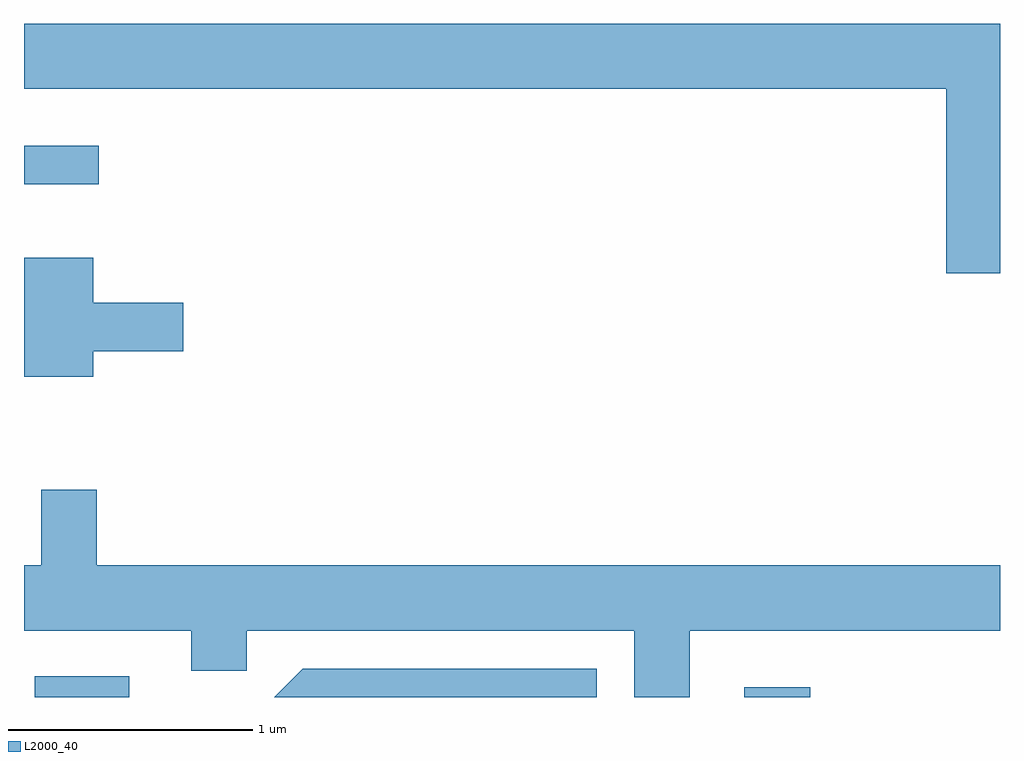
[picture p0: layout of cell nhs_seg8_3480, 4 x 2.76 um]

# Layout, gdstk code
import gdstk
lib = gdstk.Library(unit=1e-6, precision=1e-09)
def R(c, l, rs):  # rectangles x0, y0, x1, y1
    for r in rs: c.add(gdstk.rectangle(r[:2], r[2:], *l))
def P(c, l, *ps):  # polygons
    for p in ps: c.add(gdstk.Polygon(p, *l))
L2000_40 = (2000, 40)

nhs_seg8_3480 = lib.new_cell('nhs_seg8_3480')
R(nhs_seg8_3480, L2000_40, [(289.656,1858.342,290.043,1858.429), (292.563,1858.342,292.834,1858.384), (289.611,1860.446,289.918,1860.604)])
P(nhs_seg8_3480, L2000_40, [(293.611,1861.104),(289.611,1861.104),(289.611,1860.836),(293.391,1860.836),(293.391,1860.081),(293.611,1860.081)],
  [(289.894,1859.761),(290.264,1859.761),(290.264,1859.959),(289.894,1859.959),(289.894,1860.144),(289.611,1860.144),(289.611,1859.656),(289.894,1859.656)],
  [(292.339,1858.616),(293.611,1858.616),(293.611,1858.884),(289.909,1858.884),(289.909,1859.194),(289.681,1859.194),(289.681,1858.884),(289.611,1858.884),(289.611,1858.616),(290.296,1858.616),(290.296,1858.451),(290.524,1858.451),(290.524,1858.616),(292.111,1858.616),(292.111,1858.342),(292.339,1858.342)],
  [(291.959,1858.459),(290.754,1858.459),(290.637,1858.342),(291.959,1858.342)])

lib.write_gds('nhs_seg8_3480.gds')
